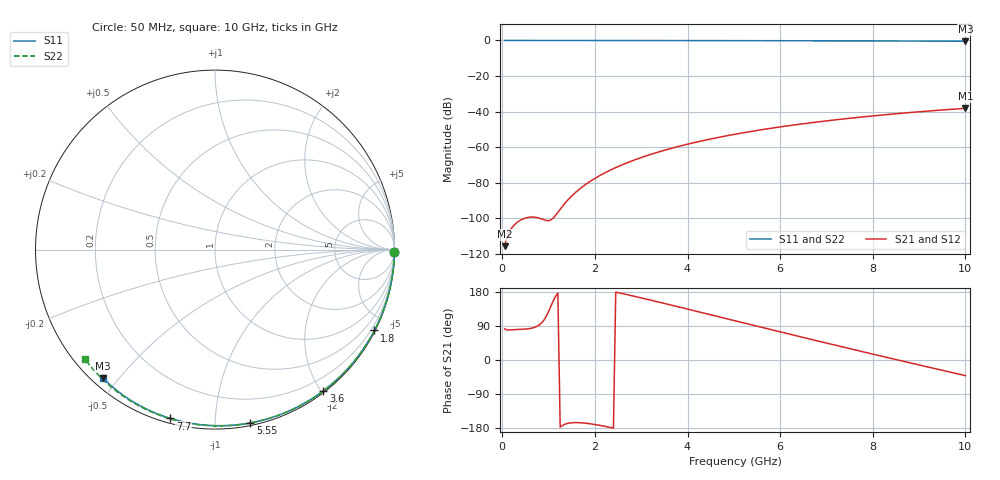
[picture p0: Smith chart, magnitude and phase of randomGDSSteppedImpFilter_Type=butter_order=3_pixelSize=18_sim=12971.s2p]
! freq	dB(S11)	phase(S11)	dB(S12)	phase(S12)
!  dB(S21)	phase(S21)	dB(S22)	phase(S22)
!S-par simulation data
#  GHz  S  DB  R 50
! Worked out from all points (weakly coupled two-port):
!   200 points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, 50 MHz to 10 GHz, reference 50 ohm
!   highest |S21| = -38.13 dB at 10 GHz (marker M1); lowest = -115.6 dB at 50 MHz (marker M2)
!   lowest |S11| = -0.4 dB at 10 GHz (marker M3), VSWR 39.16, Z = 1.54 - j22.7 ohm
!   |S11| at or under -10 dB: nowhere
!   |S22| runs from -0.5 to 0.0 dB; largest |S21 - S12| = 0
!   S11 on the Smith chart (normalised r, x): 50 MHz: open; 1.8 GHz: 0.04, -4.19; 3.6 GHz: 0.02, -2.03; 5.55 GHz: 0.02, -1.22; 7.7 GHz: 0.02, -0.77; 10 GHz: 0.03, -0.45
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0.05  -0.00 -0.8  -115.61 82.2  -115.61 82.2  -0.00 -0.8
0.45  -0.01 -6.8  -100.26 81.2  -100.26 81.2  -0.01 -7.3
0.9  -0.02 -13.6  -100.80 105.5  -100.80 105.5  -0.02 -14.5
1.75  -0.03 -26.1  -81.84 -166.1  -81.84 -166.1  -0.04 -28.0
1.8  -0.03 -26.9  -80.89 -166.8  -80.89 -166.8  -0.04 -28.8
1.85  -0.04 -27.6  -80.00 -167.5  -80.00 -167.5  -0.04 -29.6
2  -0.04 -29.8  -77.51 -170.2  -77.51 -170.2  -0.04 -31.9
2.15  -0.04 -32.0  -75.29 -173.5  -75.29 -173.5  -0.04 -34.2
2.35  -0.04 -34.9  -72.65 -178.3  -72.65 -178.3  -0.05 -37.3
2.55  -0.05 -37.7  -70.30 176.4  -70.30 176.4  -0.05 -40.4
2.95  -0.06 -43.5  -66.26 165.3  -66.26 165.3  -0.06 -46.5
3.4  -0.07 -49.8  -62.47 152.2  -62.47 152.2  -0.07 -53.2
3.6  -0.07 -52.6  -60.98 146.3  -60.98 146.3  -0.08 -56.2
4.3  -0.09 -62.1  -56.49 125.4  -56.49 125.4  -0.09 -66.3
5.05  -0.11 -72.0  -52.58 102.8  -52.58 102.8  -0.12 -76.9
5.55  -0.13 -78.5  -50.37 87.8  -50.37 87.8  -0.14 -83.7
6.1  -0.15 -85.4  -48.21 71.3  -48.21 71.3  -0.16 -91.1
6.7  -0.18 -92.9  -46.14 53.5  -46.14 53.5  -0.19 -99.0
7.7  -0.24 -104.8  -43.18 24.2  -43.18 24.2  -0.26 -111.7
8.35  -0.29 -112.4  -41.54 5.5  -41.54 5.5  -0.31 -119.8
9.2  -0.36 -122.1  -39.66 -18.7  -39.66 -18.7  -0.38 -130.2
10  -0.44 -131.1  -38.13 -41.2  -38.13 -41.2  -0.47 -139.9
